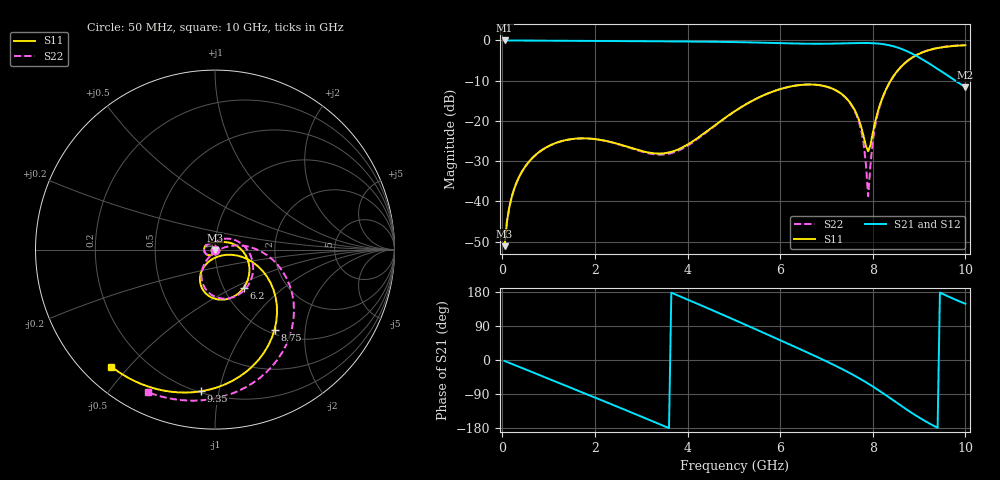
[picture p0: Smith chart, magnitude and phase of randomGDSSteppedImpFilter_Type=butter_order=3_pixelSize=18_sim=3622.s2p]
! freq	dB(S11)	phase(S11)	dB(S12)	phase(S12)
!  dB(S21)	phase(S21)	dB(S22)	phase(S22)
!S-par simulation data
#  GHz  S  DB  R 50
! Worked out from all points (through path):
!   200 points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, 50 MHz to 10 GHz, reference 50 ohm
!   highest |S21| = 0.00 dB at 50 MHz (marker M1); lowest = -11.6 dB at 10 GHz (marker M2)
!   group delay of S21, straight-line fit = 157 ps
!   lowest |S11| = -51.1 dB at 50 MHz (marker M3), VSWR 1.01, Z = 50 - j0.278 ohm
!   |S11| at or under -10 dB: start of sweep to 8.387 GHz
!   |S22| runs from -51.1 to -1.1 dB; largest |S21 - S12| = 0
!   S11 on the Smith chart (normalised r, x): 50 MHz: 1.00, -0.01; 6.2 GHz: 1.24, -0.57; 8.75 GHz: 1.07, -1.38; 9.35 GHz: 0.21, -0.89; 10 GHz: 0.08, -0.45
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0.05  -51.11 -90.9  -0.00 -2.5  -0.00 -2.5  -51.11 -90.9
0.2  -39.04 -99.1  -0.02 -10.0  -0.02 -10.0  -39.04 -99.0
0.5  -31.26 -114.9  -0.03 -24.8  -0.03 -24.8  -31.26 -114.5
1.15  -25.49 -148.8  -0.07 -56.9  -0.07 -56.9  -25.50 -147.7
1.75  -24.32 -180.0  -0.11 -86.6  -0.11 -86.6  -24.34 -177.6
2.5  -25.72 139.3  -0.15 -124.0  -0.15 -124.0  -25.77 146.0
3.4  -28.10 84.7  -0.21 -169.6  -0.21 -169.6  -28.36 104.7
4.15  -24.77 45.5  -0.28 151.7  -0.28 151.7  -25.01 68.4
5.05  -17.35 4.6  -0.41 103.9  -0.41 103.9  -17.39 19.7
5.6  -13.84 -22.4  -0.55 74.1  -0.55 74.1  -13.84 -10.5
6.2  -11.51 -53.0  -0.73 41.3  -0.73 41.3  -11.49 -43.3
6.7  -10.96 -78.9  -0.83 13.6  -0.83 13.6  -10.94 -70.7
7.25  -12.70 -107.4  -0.77 -18.5  -0.77 -18.5  -12.72 -101.8
7.6  -17.09 -122.0  -0.66 -40.9  -0.66 -40.9  -17.31 -122.0
7.8  -23.69 -113.2  -0.63 -54.9  -0.63 -54.9  -25.45 -128.4
7.9  -27.54 -70.1  -0.64 -62.3  -0.64 -62.3  -38.70 -64.8
8  -23.08 -24.5  -0.68 -69.9  -0.68 -69.9  -25.01 13.1
8.05  -20.36 -17.5  -0.72 -73.8  -0.72 -73.8  -21.30 13.3
8.35  -10.72 -24.1  -1.18 -98.5  -1.18 -98.5  -10.79 -5.8
8.75  -5.09 -53.4  -2.73 -132.2  -2.73 -132.2  -5.07 -37.9
9.35  -2.02 -95.5  -6.70 -175.8  -6.70 -175.8  -1.96 -80.4
10  -1.20 -131.5  -11.63 148.4  -11.63 148.4  -1.13 -115.3
